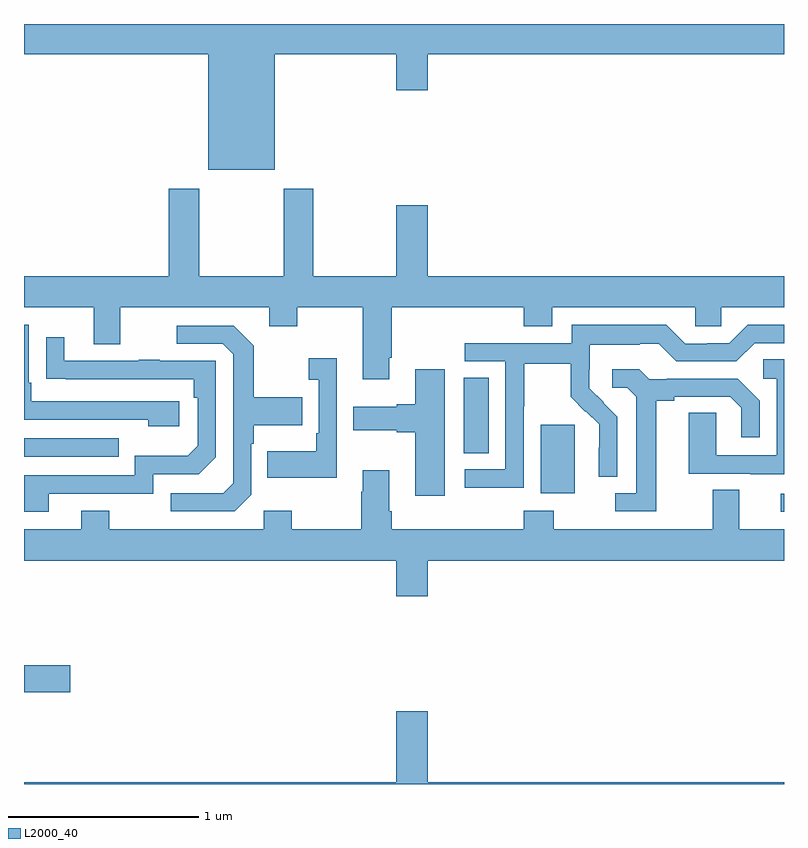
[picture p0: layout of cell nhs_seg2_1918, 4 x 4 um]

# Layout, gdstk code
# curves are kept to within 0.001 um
import gdstk
lib = gdstk.Library(unit=1e-6, precision=1e-09)
def R(c, l, rs):  # rectangles x0, y0, x1, y1
    for r in rs: c.add(gdstk.rectangle(r[:2], r[2:], *l))
def P(c, l, *ps):  # polygons
    for p in ps: c.add(gdstk.Polygon(p, *l))
L2000_40 = (2000, 40)

nhs_seg2_1918 = lib.new_cell('nhs_seg2_1918')
R(nhs_seg2_1918, L2000_40, [(211,640.282,211.243,640.424), (214.983,641.232,215,641.328), (213.719,641.33,213.898,641.691), (211,641.523,211.499,641.619), (213.314,641.542,213.445,641.939)])
P(nhs_seg2_1918, L2000_40, [(212.32,643.64),(212.96,643.64),(212.96,643.452),(213.124,643.452),(213.124,643.64),(215,643.64),(215,643.8),(211,643.8),(211,643.64),(211.97,643.64),(211.97,643.034),(212.32,643.034)],
  [(212.923,642.043),(212.936,642.043),(212.936,642.308),(213.629,642.308),(213.629,642.209),(213.781,642.209),(213.781,642.308),(214.533,642.308),(214.533,642.21),(214.671,642.21),(214.671,642.308),(215,642.308),(215,642.472),(213.124,642.472),(213.124,642.847),(212.96,642.847),(212.96,642.472),(212.523,642.472),(212.523,642.934),(212.368,642.934),(212.368,642.472),(211.923,642.472),(211.923,642.934),(211.763,642.934),(211.763,642.472),(211,642.472),(211,642.308),(211.367,642.308),(211.367,642.114),(211.507,642.114),(211.507,642.308),(212.291,642.308),(212.291,642.209),(212.439,642.209),(212.439,642.308),(212.783,642.308),(212.783,641.931),(212.923,641.931)],
  [(213.63,641.788),(213.633,641.788),(213.633,642.012),(213.877,642.012),(213.877,641.837),(213.954,641.76),(213.957,641.763),(214.028,641.693),(214.028,641.57),(214.026,641.57),(214.026,641.416),(214.122,641.416),(214.122,641.734),(213.976,641.882),(213.976,641.979),(213.978,641.979),(213.978,642.113),(214.241,642.113),(214.241,642.117),(214.341,642.117),(214.434,642.024),(214.749,642.024),(214.845,642.12),(215,642.12),(215,642.216),(214.809,642.216),(214.713,642.12),(214.595,642.12),(214.595,642.117),(214.479,642.117),(214.379,642.217),(213.882,642.217),(213.882,642.12),(213.321,642.12),(213.321,642.024),(213.534,642.024),(213.534,641.457),(213.321,641.457),(213.321,641.359),(213.63,641.359)],
  [(211.816,641.814),(211.039,641.814),(211.039,641.911),(211.026,641.911),(211.026,642.216),(211,642.216),(211,641.718),(211.655,641.718),(211.655,641.684),(211.816,641.684)],
  [(212.196,641.322),(212.196,641.591),(212.209,641.591),(212.209,641.687),(212.465,641.687),(212.465,641.835),(212.209,641.835),(212.209,642.107),(212.103,642.213),(211.803,642.213),(211.803,642.117),(212.046,642.117),(212.1,642.063),(212.1,641.382),(212.049,641.331),(211.773,641.331),(211.773,641.235),(212.109,641.235)],
  [(211.129,641.328),(211.68,641.328),(211.68,641.43),(211.92,641.43),(212.01,641.52),(212.01,642.027),(211.715,642.027),(211.715,642.032),(211.603,642.032),(211.603,642.027),(211.213,642.027),(211.213,642.151),(211.117,642.151),(211.117,641.932),(211.894,641.931),(211.894,641.834),(211.914,641.834),(211.914,641.58),(211.861,641.527),(211.584,641.527),(211.584,641.424),(211,641.424),(211,641.232),(211.129,641.232)],
  [(212.646,642.04),(212.499,642.04),(212.499,641.927),(212.55,641.927),(212.55,641.647),(212.538,641.647),(212.538,641.551),(212.281,641.551),(212.281,641.411),(212.646,641.411)],
  [(215,642.035),(214.89,642.035),(214.89,641.934),(214.962,641.934),(214.962,641.529),(214.644,641.529),(214.644,641.753),(214.499,641.753),(214.499,641.433),(214.823,641.433),(214.823,641.429),(215,641.429)],
  [(213.214,641.983),(213.059,641.983),(213.059,641.798),(212.963,641.798),(212.963,641.785),(212.733,641.785),(212.733,641.663),(212.963,641.663),(212.963,641.651),(213.059,641.651),(213.059,641.316),(213.214,641.316)],
  [(214.327,641.816),(214.423,641.816),(214.423,641.838),(214.718,641.838),(214.775,641.781),(214.775,641.625),(214.872,641.625),(214.872,641.818),(214.756,641.934),(214.384,641.934),(214.384,641.931),(214.29,641.931),(214.238,641.983),(214.095,641.983),(214.095,641.886),(214.176,641.886),(214.223,641.839),(214.223,641.331),(214.113,641.331),(214.113,641.235),(214.327,641.235)],
  [(213.124,640.976),(215,640.976),(215,641.14),(214.765,641.14),(214.765,641.348),(214.625,641.348),(214.625,641.14),(213.789,641.14),(213.789,641.239),(213.629,641.239),(213.629,641.14),(212.936,641.14),(212.936,641.236),(212.923,641.236),(212.923,641.452),(212.783,641.452),(212.783,641.339),(212.776,641.339),(212.776,641.14),(212.409,641.14),(212.409,641.239),(212.262,641.239),(212.262,641.14),(211.449,641.14),(211.449,641.239),(211.301,641.239),(211.301,641.14),(211,641.14),(211,640.976),(212.96,640.976),(212.96,640.788),(213.124,640.788)],
  [(215,639.808),(213.124,639.808),(213.124,640.183),(212.96,640.183),(212.96,639.808),(211,639.808),(211,639.8),(215,639.8)])

lib.write_gds('nhs_seg2_1918.gds')
